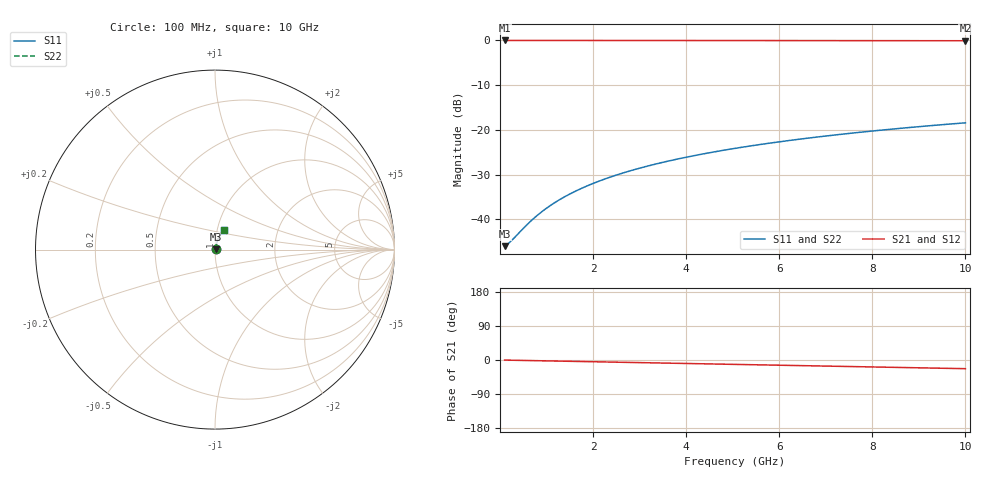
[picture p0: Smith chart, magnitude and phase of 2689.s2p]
# Hz S RI R 50.00
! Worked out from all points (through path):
!   100 points, 100 MHz to 10 GHz, reference 50 ohm
!   highest |S21| = -0.04 dB at 100 MHz (marker M1); lowest = -0.1 dB at 10 GHz (marker M2)
!   group delay of S21, straight-line fit = 6.36 ps
!   lowest |S11| = -46.0 dB at 100 MHz (marker M3), VSWR 1.01, Z = 50.5 + j0.123 ohm
!   |S11| at or under -10 dB: start of sweep to end of sweep
!   |S22| runs from -46.0 to -18.4 dB; largest |S21 - S12| = 0
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1e8  0.00488 0.00122  0.9951 -0.00399  0.9951 -0.00399  0.00488 0.00122
2e8  0.00492 0.00243  0.9951 -0.00798  0.9951 -0.00798  0.00492 0.00243
3e8  0.00497 0.00365  0.995 -0.012  0.995 -0.012  0.00497 0.00365
5e8  0.00508 0.00608  0.9948 -0.0199  0.9948 -0.0199  0.00508 0.00608
7e8  0.00522 0.0085  0.9946 -0.0279  0.9946 -0.0279  0.00522 0.0085
8e8  0.00531 0.00972  0.9944 -0.0319  0.9944 -0.0319  0.00531 0.00972
1e9  0.0055 0.0121  0.9941 -0.0399  0.9941 -0.0399  0.0055 0.0121
1.2e9  0.00573 0.0146  0.9937 -0.0478  0.9937 -0.0478  0.00573 0.0146
1.4e9  0.006 0.017  0.9932 -0.0558  0.9932 -0.0558  0.006 0.017
1.6e9  0.00631 0.0194  0.9927 -0.0638  0.9927 -0.0638  0.00631 0.0194
1.8e9  0.00665 0.0218  0.992 -0.0717  0.992 -0.0717  0.00665 0.0218
2.1e9  0.00724 0.0254  0.991 -0.0836  0.991 -0.0836  0.00724 0.0254
2.5e9  0.00816 0.0302  0.9894 -0.0995  0.9894 -0.0995  0.00816 0.0302
2.9e9  0.00922 0.0349  0.9875 -0.1153  0.9875 -0.1153  0.00922 0.0349
3.4e9  0.0108 0.0408  0.9847 -0.135  0.9847 -0.135  0.0108 0.0408
4.2e9  0.0137 0.05  0.9794 -0.1664  0.9794 -0.1664  0.0137 0.05
5.1e9  0.0177 0.0601  0.9721 -0.2014  0.9721 -0.2014  0.0177 0.0601
5.9e9  0.0219 0.0689  0.9645 -0.2322  0.9645 -0.2322  0.0219 0.0689
6.7e9  0.0266 0.0773  0.9558 -0.2627  0.9558 -0.2627  0.0266 0.0773
7.5e9  0.0319 0.0854  0.9462 -0.2928  0.9462 -0.2928  0.0319 0.0854
8.4e9  0.0383 0.0941  0.9341 -0.3261  0.9341 -0.3261  0.0383 0.0941
1e10  0.0513 0.1082  0.9096 -0.384  0.9096 -0.384  0.0513 0.1082
